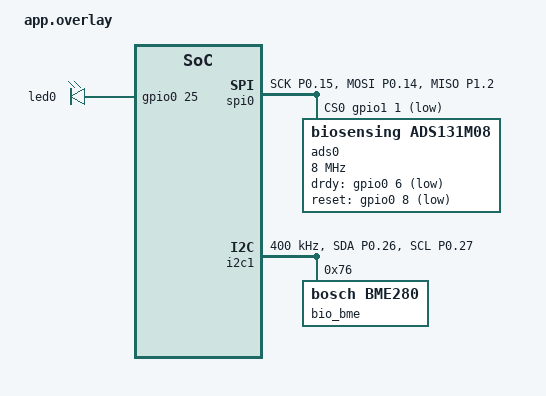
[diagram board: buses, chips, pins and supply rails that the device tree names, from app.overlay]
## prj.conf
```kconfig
# bt52840: default preset. This is the complete configuration.
# Select nrf52840dk/nrf52840 with NCS v3.3.1 and sysbuild.
# No EXTRA_CONF_FILE or other custom build arguments are needed.

CONFIG_GPIO=y
CONFIG_BT=y
CONFIG_BT_PERIPHERAL=y
CONFIG_BT_MAX_CONN=1
CONFIG_BT_L2CAP_TX_MTU=247
CONFIG_BT_BUF_ACL_RX_SIZE=251
CONFIG_BT_BUF_ACL_TX_SIZE=251
CONFIG_BT_BUF_ACL_TX_COUNT=3
CONFIG_BT_RX_STACK_SIZE=1536
CONFIG_MAIN_STACK_SIZE=2048
CONFIG_SYSTEM_WORKQUEUE_STACK_SIZE=1536
CONFIG_HEAP_MEM_POOL_SIZE=2048
CONFIG_LOG=y
CONFIG_LOG_DEFAULT_LEVEL=3
CONFIG_USE_SEGGER_RTT=y
CONFIG_CONSOLE=y
CONFIG_UART_CONSOLE=n
CONFIG_RTT_CONSOLE=y
CONFIG_LOG_BACKEND_UART=n
CONFIG_LOG_BACKEND_RTT=n
CONFIG_SHELL=y
CONFIG_SHELL_BACKEND_SERIAL=n
CONFIG_SHELL_BACKEND_RTT=y
CONFIG_SHELL_VT100_COLORS=n
CONFIG_SHELL_CMDS_RESIZE=n
CONFIG_REBOOT=y
CONFIG_SERIAL=n
# Modules do not require an external 32.768 kHz crystal for bring-up.
CONFIG_CLOCK_CONTROL_NRF_K32SRC_RC=y
CONFIG_CLOCK_CONTROL_NRF_K32SRC_XTAL=n

CONFIG_BIO_PROFILE="BT52840 / BT840"
CONFIG_BT_DEVICE_NAME="BT840-v3"
CONFIG_BIO_I2C_SENSORS=y
CONFIG_BIO_BEACONS=y
```

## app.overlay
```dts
// bt52840: complete carrier overlay; automatically loaded by Zephyr.
#include <zephyr/dt-bindings/gpio/gpio.h>
#include <zephyr/dt-bindings/pinctrl/nrf-pinctrl.h>
/ { aliases { bio-led = &led0; ads0 = &ads0; ads1 = &ads1; sensor-i2c = &i2c1; }; };
&led0 { gpios = <&gpio0 25 GPIO_ACTIVE_HIGH>; };
&led1 { status = "disabled"; };
&led2 { status = "disabled"; };
&led3 { status = "disabled"; };
&button0 { status = "disabled"; };
&button1 { status = "disabled"; };
&button2 { status = "disabled"; };
&button3 { status = "disabled"; };
&gpio0 { /delete-property/ gpio-reserved-ranges; /delete-property/ gpio-line-names; };
&gpio1 { /delete-property/ gpio-line-names; };
&uart0 { status = "disabled"; };
&uart1 { status = "disabled"; };
&qspi { status = "disabled"; };
&pwm0 { status = "disabled"; };
&nfct { status = "disabled"; };
&adc { status = "disabled"; };
&i2c0 { status = "disabled"; };
&spi1 { status = "disabled"; };
&spi0 {
	status = "okay";
	compatible = "nordic,nrf-spim";
	pinctrl-0 = <&bio_spi_default>;
	pinctrl-1 = <&bio_spi_sleep>;
	pinctrl-names = "default", "sleep";
	cs-gpios = <&gpio1 1 GPIO_ACTIVE_LOW>;
	ads0: adc@0 {
		compatible = "biosensing,ads131m08";
		reg = <0>;
		spi-max-frequency = <8000000>;
		drdy-gpios = <&gpio0 6 (GPIO_ACTIVE_LOW | GPIO_PULL_UP)>;
		reset-gpios = <&gpio0 8 GPIO_ACTIVE_LOW>;
	};
	// Extension mapping follows executable main.cpp, see hardware notes.
	ads1: adc@1 {
		compatible = "biosensing,ads131m08";
		reg = <1>;
		spi-max-frequency = <8000000>;
		drdy-gpios = <&gpio1 8 (GPIO_ACTIVE_LOW | GPIO_PULL_UP)>;
		reset-gpios = <&gpio0 29 GPIO_ACTIVE_LOW>;
		status = "disabled";
	};
};
&i2c1 {
	compatible = "nordic,nrf-twim";
	status = "okay";
	clock-frequency = <400000>;
	pinctrl-0 = <&bio_i2c_default>;
	pinctrl-1 = <&bio_i2c_sleep>;
	pinctrl-names = "default", "sleep";
	bio_bme: bme280@76 { compatible = "bosch,bme280"; reg = <0x76>; };
};
&pinctrl {
	bio_spi_default: bio_spi_default { group1 { psels = <NRF_PSEL(SPIM_SCK, 0, 15)>, <NRF_PSEL(SPIM_MOSI, 0, 14)>, <NRF_PSEL(SPIM_MISO, 1, 2)>; }; };
	bio_spi_sleep: bio_spi_sleep { group1 { psels = <NRF_PSEL(SPIM_SCK, 0, 15)>, <NRF_PSEL(SPIM_MOSI, 0, 14)>, <NRF_PSEL(SPIM_MISO, 1, 2)>; low-power-enable; }; };
	bio_i2c_default: bio_i2c_default { group1 { psels = <NRF_PSEL(TWIM_SDA, 0, 26)>, <NRF_PSEL(TWIM_SCL, 0, 27)>; }; };
	bio_i2c_sleep: bio_i2c_sleep { group1 { psels = <NRF_PSEL(TWIM_SDA, 0, 26)>, <NRF_PSEL(TWIM_SCL, 0, 27)>; low-power-enable; }; };
};
```

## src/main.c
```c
#include "bio.h"
#include <zephyr/logging/log.h>
#if defined(CONFIG_BIO_ADC_CLOCK)
#include <zephyr/drivers/pwm.h>
static int start_adc_clock(void)
{
	const struct device *pwm = DEVICE_DT_GET(DT_NODELABEL(pwm0));
	uint64_t cycles;
	if (!device_is_ready(pwm)) { return -ENODEV; }
	int err = pwm_get_cycles_per_sec(pwm, 0, &cycles);
	if (err) { return err; }
	if (cycles != 16000000) { return -ENOTSUP; }
	// nRF52840 COUNTERTOP must be >= 3. Four ticks give 4 MHz at 50% duty.
	// A two-tick/8 MHz PWM period would be outside the hardware specification.
	return pwm_set_cycles(pwm, 0, 4, 2, 0);
}
#endif
LOG_MODULE_REGISTER(bio_main, LOG_LEVEL_INF);
int main(void)
{
	LOG_INF("Biosensing v3: %s", CONFIG_BIO_PROFILE);
#if defined(CONFIG_BIO_ADC_CLOCK)
	int clock_err = start_adc_clock();
	if (clock_err) { LOG_ERR("ADC PWM clock failed: %d", clock_err); }
	else { LOG_INF("ADC CLKIN 4 MHz: nominal 250 SPS is approximately 122.07 SPS"); }
#endif
	// Peripheral failures must not prevent access to the command interface.
	int err = bio_ads_init();
	if (err) { LOG_WRN("ADS bring-up: %d (check clock, power and wiring)", err); }
	err = bio_sensors_init();
	if (err) { LOG_WRN("One or more optional I2C sensors absent: %d", err); }
	err = bio_usb_init();
	if (err) { LOG_WRN("USB unavailable: %d", err); }
	err = bio_aux_init();
	if (err) { LOG_WRN("Aux UART unavailable: %d", err); }
	bio_app_start();
	err = bio_ble_init();
	if (err) { LOG_ERR("BLE initialization failed: %d", err); }
	LOG_INF("Sampling is stopped. Use 'bio help' on RTT or BLE text commands.");
	// Reuse the main stack for commands, rather than reserve a second idle stack.
	k_thread_priority_set(k_current_get(), 7);
	bio_app_run();
	return 0;
}
```

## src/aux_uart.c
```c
#include "bio.h"
#include "transport.h"
#include <string.h>
#include <zephyr/drivers/uart.h>
#include <zephyr/sys/ring_buffer.h>
static const struct device *const uart = DEVICE_DT_GET(DT_NODELABEL(uart2));
RING_BUF_DECLARE(aux_tx, 512);
static struct k_spinlock aux_lock;
static bool ready;
static struct bio_line line;
static atomic_t tx_dropped, rx_dropped;
struct rx_line { size_t len; char data[BIO_COMMAND_MAX]; };
K_MSGQ_DEFINE(aux_rx, sizeof(struct rx_line), 4, 4);
static void publish_rx(struct k_work *work)
{
	struct rx_line item;
	while (!k_msgq_get(&aux_rx, &item, K_NO_WAIT)) { bio_publish(BIO_UART, item.data, item.len); }
}
K_WORK_DEFINE(aux_rx_work, publish_rx);
static void aux_irq(const struct device *dev, void *context)
{
	while (uart_irq_update(dev) && uart_irq_is_pending(dev)) {
		if (uart_irq_rx_ready(dev)) {
			uint8_t ch;
			while (uart_fifo_read(dev, &ch, 1) == 1) {
				enum bio_line_result result = bio_line_feed(&line, ch);
				if (result == BIO_LINE_READY) {
					/* RP2040 replies are data, not firmware commands. */
					struct rx_line item = { .len = strlen(line.data) };
					memcpy(item.data, line.data, item.len);
					if (k_msgq_put(&aux_rx, &item, K_NO_WAIT)) { atomic_inc(&rx_dropped); }
					else { k_work_submit(&aux_rx_work); }
				} else if (result == BIO_LINE_OVERFLOW) { atomic_inc(&rx_dropped); }
			}
		}
		if (uart_irq_tx_ready(dev)) {
			k_spinlock_key_t key = k_spin_lock(&aux_lock);
			uint8_t *data;
			uint32_t len = ring_buf_get_claim(&aux_tx, &data, 32);
			int count = len ? uart_fifo_fill(dev, data, len) : 0;
			ring_buf_get_finish(&aux_tx, count > 0 ? count : 0);
			if (!len) { uart_irq_tx_disable(dev); }
			k_spin_unlock(&aux_lock, key);
			if (len && count <= 0) { break; }
		}
	}
}
int bio_aux_init(void)
{
	if (!device_is_ready(uart)) { return -ENODEV; }
	int err = uart_irq_callback_user_data_set(uart, aux_irq, NULL);
	if (!err) { ready = true; uart_irq_rx_enable(uart); }
	return err;
}
int bio_aux_send(const char *text)
{
	if (!ready) { return -ENODEV; }
	size_t len = strlen(text);
	if (!len || len >= BIO_COMMAND_MAX) { return -EMSGSIZE; }
	k_spinlock_key_t key = k_spin_lock(&aux_lock);
	int err = 0;
	if (ring_buf_space_get(&aux_tx) < len + 1) { atomic_inc(&tx_dropped); err = -ENOBUFS; }
	else { ring_buf_put(&aux_tx, (const uint8_t *)text, len); ring_buf_put(&aux_tx, (const uint8_t *)"\n", 1); }
	k_spin_unlock(&aux_lock, key);
	if (!err) { uart_irq_tx_enable(uart); }
	return err;
}
bool bio_aux_ready(void) { return ready; }
struct bio_io_stats bio_aux_stats(void)
{
	return (struct bio_io_stats){ .tx_drop = atomic_get(&tx_dropped), .rx_drop = atomic_get(&rx_dropped) };
}
```

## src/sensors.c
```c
#include "bio.h"
#include <string.h>
#include <zephyr/drivers/i2c.h>
#include <zephyr/drivers/sensor.h>
#include <zephyr/logging/log.h>
#include <zephyr/sys/byteorder.h>
LOG_MODULE_REGISTER(bio_sensors, LOG_LEVEL_INF);
static const struct device *const bus = DEVICE_DT_GET(DT_ALIAS(sensor_i2c));
static const struct device *const bme = DEVICE_DT_GET(DT_NODELABEL(bio_bme));
K_MUTEX_DEFINE(sensor_lock);
struct sensor_state { bool ready, running; uint8_t count, sequence, packet[244]; };
static struct sensor_state state[4]; // MPU, MAX, BME, QMC, matching IDs 4..7.
static uint8_t bme_id;
static uint8_t max_temp[2];
static int read_bytes(unsigned addr, unsigned reg, void *buf, size_t len) { return i2c_burst_read(bus, addr, reg, buf, len); }
static int read_byte(unsigned addr, unsigned reg, uint8_t *value) { return i2c_reg_read_byte(bus, addr, reg, value); }
static int write_byte(unsigned addr, unsigned reg, unsigned value) { return i2c_reg_write_byte(bus, addr, reg, value); }
static int registers(unsigned addr, const uint8_t (*values)[2], size_t count)
{
	for (size_t i = 0; i < count; i++) { int err = write_byte(addr, values[i][0], values[i][1]); if (err) { return err; } }
	return 0;
}
static int init_max(void)
{
	uint8_t id, mode;
	int err = read_byte(0x57, 0xff, &id);
	if (err || id != 0x15) { return err ? err : -ENODEV; }
	err = write_byte(0x57, 0x09, 0x40);
	if (err) { return err; }
	bool reset = false;
	for (unsigned i = 0; i < 20; i++) {
		k_msleep(5);
		err = read_byte(0x57, 0x09, &mode);
		if (err) { return err; }
		if (!(mode & 0x40)) { reset = true; break; }
	}
	if (!reset) { return -ETIMEDOUT; }
	// Red + IR, 100 SPS, 18-bit samples, low initial LED currents; idle in shutdown.
	static const uint8_t values[][2] = {{0x02,0},{0x03,0},{0x04,0},{0x05,0},{0x06,0},
		{0x08,0x10},{0x0a,0x27},{0x0c,0x10},{0x0d,0x10},{0x09,0x83}};
	return registers(0x57, values, ARRAY_SIZE(values));
}
static int init_mpu(void)
{
	uint8_t id;
	int err = read_byte(0x68, 0x75, &id);
	if (err || (id & 0x7e) != 0x68) { return err ? err : -ENODEV; }
	err = write_byte(0x68, 0x6b, 0x80);
	if (err) { return err; }
	k_msleep(100);
	// 100 Hz, +/-4 g, +/-500 dps. Interrupt status is polled; no disputed IRQ pins.
	static const uint8_t values[][2] = {{0x19,9},{0x1a,1},{0x1b,8},{0x1c,8},
		{0x23,0},{0x37,0},{0x38,1},{0x6a,0},{0x6c,0},{0x6b,0x41}};
	return registers(0x68, values, ARRAY_SIZE(values));
}
static int init_qmc(void)
{
	uint8_t id;
	int err = read_byte(0x0d, 0x0d, &id);
	if (err || id != 0xff) { return err ? err : -ENODEV; }
	static const uint8_t values[][2] = {{0x0a,0x80}};
	err = registers(0x0d, values, ARRAY_SIZE(values));
	if (err) { return err; }
	k_msleep(5);
	err = write_byte(0x0d, 0x0b, 1);
	if (!err) { err = write_byte(0x0d, 0x09, 0x18); } // 100 Hz, 8 G, standby.
	return err;
}
static void poll_mpu(struct sensor_state *s)
{
	uint8_t ready, raw[14];
	if (read_byte(0x68, 0x3a, &ready) || !(ready & 1) || read_bytes(0x68, 0x3b, raw, sizeof(raw))) { return; }
	memcpy(s->packet + 1 + 12 * s->count, raw, 6);
	memcpy(s->packet + 7 + 12 * s->count, raw + 8, 6);
	if (++s->count == 20) {
		s->packet[0] = s->sequence++;
		memcpy(s->packet + 241, raw + 6, 2);
		bio_publish(BIO_MPU, s->packet, 243); s->count = 0;
	}
}
static void poll_qmc(struct sensor_state *s)
{
	uint8_t ready, raw[6];
	if (read_byte(0x0d, 6, &ready) || !(ready & 1) || (ready & 2) || read_bytes(0x0d, 0, raw, sizeof(raw))) { return; }
	memcpy(s->packet + 1 + 6 * s->count, raw, 6);
	if (++s->count == 40) {
		s->packet[0] = s->sequence++;
		if (!read_bytes(0x0d, 7, s->packet + 241, 2)) { bio_publish(BIO_QMC, s->packet, 243); }
		s->count = 0;
	}
}
static void poll_max(struct sensor_state *s)
{
	uint8_t pointers[3], ready;
	if (!read_byte(0x57, 1, &ready) && (ready & 2)) { (void)read_bytes(0x57, 0x1f, max_temp, 2); }
	if (read_bytes(0x57, 4, pointers, sizeof(pointers))) { return; }
	unsigned available = (pointers[0] - pointers[2]) & 31;
	if (pointers[1]) {
		// Discard overflowed FIFO, rather than label overwritten samples as continuous.
		(void)write_byte(0x57, 4, 0); (void)write_byte(0x57, 5, 0); (void)write_byte(0x57, 6, 0);
		s->count = 0; s->sequence++; return;
	}
	while (available--) {
		if (read_bytes(0x57, 7, s->packet + 1 + s->count * 6, 6)) { s->count = 0; return; }
		if (++s->count == 32) {
			s->packet[0] = s->sequence++;
			memcpy(s->packet + 193, max_temp, 2);
			bio_publish(BIO_MAX, s->packet, 195); s->count = 0;
			(void)write_byte(0x57, 0x21, 1); // Temperature result is collected asynchronously.
		}
	}
}
static void put_sensor_value(uint8_t *dest, const struct sensor_value *v)
{
	sys_put_le32(v->val1, dest); sys_put_le32(v->val2, dest + 4);
}
static void poll_bme(struct sensor_state *s)
{
	struct sensor_value temp, pressure, humidity;
	int err = sensor_sample_fetch(bme);
	if (!err) { err = sensor_channel_get(bme, SENSOR_CHAN_AMBIENT_TEMP, &temp); }
	if (!err) { err = sensor_channel_get(bme, SENSOR_CHAN_PRESS, &pressure); }
	if (!err && bme_id == 0x60) { err = sensor_channel_get(bme, SENSOR_CHAN_HUMIDITY, &humidity); }
	if (err) { return; }
	unsigned stride = bme_id == 0x60 ? 24 : 16;
	uint8_t *dest = s->packet + 2 + s->count * stride;
	put_sensor_value(dest, &temp); put_sensor_value(dest + 8, &pressure);
	if (bme_id == 0x60) { put_sensor_value(dest + 16, &humidity); }
	if (++s->count == 3) {
		s->packet[0] = bme_id; s->packet[1] = s->sequence++;
		bio_publish(BIO_BME, s->packet, 2 + 3 * stride); s->count = 0;
	}
}
static void polling(void *a, void *b, void *c)
{
	int64_t next_bme = 0;
	while (true) {
		k_mutex_lock(&sensor_lock, K_FOREVER);
		if (state[0].running) { poll_mpu(&state[0]); }
		if (state[1].running) { poll_max(&state[1]); }
		if (state[3].running) { poll_qmc(&state[3]); }
		int64_t now = k_uptime_get();
		if (state[2].running && now >= next_bme) { poll_bme(&state[2]); next_bme = now + 1000; }
		k_mutex_unlock(&sensor_lock);
		k_msleep(5);
	}
}
K_THREAD_DEFINE(sensor_thread, 2048, polling, NULL, NULL, NULL, 5, 0, SYS_FOREVER_MS);
int bio_sensors_init(void)
{
	if (!device_is_ready(bus)) { return -ENODEV; }
	state[0].ready = init_mpu() == 0;
	state[1].ready = init_max() == 0;
	state[3].ready = init_qmc() == 0;
	state[2].ready = device_is_ready(bme) && !read_byte(DT_REG_ADDR(DT_NODELABEL(bio_bme)), 0xd0, &bme_id);
	LOG_INF("I2C present: MPU=%d MAX=%d BME/BMP=%d QMC=%d", state[0].ready, state[1].ready, state[2].ready, state[3].ready);
	k_thread_start(sensor_thread);
	return bio_sensors_ready() == (BIT(BIO_MPU) | BIT(BIO_MAX) | BIT(BIO_BME) | BIT(BIO_QMC)) ? 0 : -ENODEV;
}
int bio_sensors_start(unsigned id, bool enable)
{
	if (id < BIO_MPU || id > BIO_QMC || !state[id - BIO_MPU].ready) { return -ENODEV; }
	k_mutex_lock(&sensor_lock, K_FOREVER);
	struct sensor_state *s = &state[id - BIO_MPU];
	int err = 0;
	if (s->running == enable) { goto done; }
	switch (id) {
	case BIO_MPU: err = write_byte(0x68, 0x6b, enable ? 1 : 0x41); break;
	case BIO_MAX:
		if (enable) {
			err = write_byte(0x57, 4, 0);
			if (!err) { err = write_byte(0x57, 5, 0); }
			if (!err) { err = write_byte(0x57, 6, 0); }
			if (!err) { err = write_byte(0x57, 0x21, 1); }
		}
		if (!err) { err = write_byte(0x57, 9, enable ? 3 : 0x83); }
		break;
	case BIO_QMC: err = write_byte(0x0d, 9, enable ? 0x19 : 0x18); break;
	default: break; // BME sampling is driven through the public Zephyr sensor API.
	}
	if (!err) { s->running = enable; s->count = 0; }
done:
	k_mutex_unlock(&sensor_lock);
	return err;
}
unsigned bio_sensors_ready(void)
{
	unsigned mask = 0;
	for (unsigned i = 0; i < 4; i++) { if (state[i].ready) { mask |= BIT(i + BIO_MPU); } }
	return mask;
}

unsigned bio_sensors_running(void)
{
	unsigned mask = 0;
	k_mutex_lock(&sensor_lock, K_FOREVER);
	for (unsigned i = 0; i < ARRAY_SIZE(state); i++) {
		if (state[i].running) { mask |= BIT(i + BIO_MPU); }
	}
	k_mutex_unlock(&sensor_lock);
	return mask;
}
```
